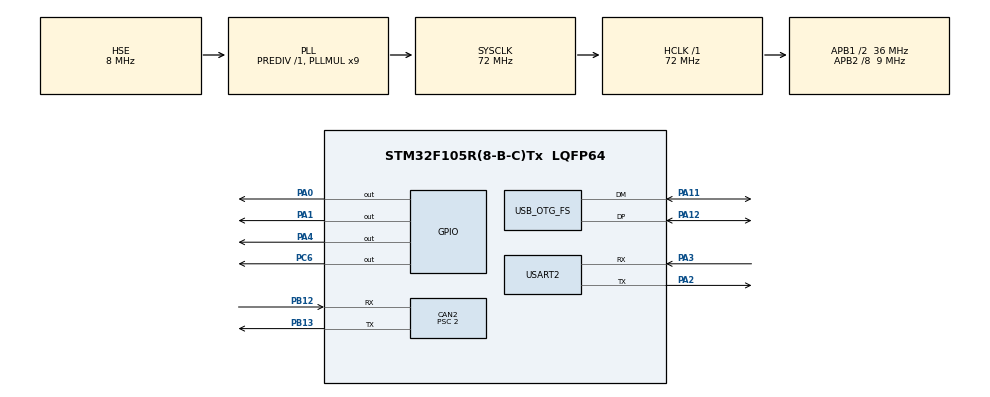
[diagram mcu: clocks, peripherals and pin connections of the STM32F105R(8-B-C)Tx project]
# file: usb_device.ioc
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CAN2.ABOM=ENABLE
CAN2.BS1=CAN_BS1_15TQ
CAN2.BS2=CAN_BS2_2TQ
CAN2.CalculateBaudRate=1000000
CAN2.CalculateTimeBit=1000
CAN2.CalculateTimeQuantum=55.55555555555556
CAN2.Prescaler=2
FREERTOS.Queues01=usb_tx_queue,8,256,1,Dynamic,NULL,NULL;rs485_tx_queue,8,256,1,Dynamic,NULL,NULL;can_tx_queue,8,256,1,Dynamic,NULL,NULL
FREERTOS.Tasks01=defaultTask,24,128,StartDefaultTask,Default,NULL,Dynamic,NULL,NULL;usb_tx_Task,8,256,StartUsbTxTask,Default,NULL,Dynamic,NULL,NULL;rs485_tx_Task,8,256,StartRs485TxTask,Default,NULL,Dynamic,NULL,NULL;can_tx_Task,8,256,StartCanTxTask,Default,NULL,Dynamic,NULL,NULL
FREERTOS.configTOTAL_HEAP_SIZE=16384
FREERTOS.configUSE_NEWLIB_REENTRANT=1
Mcu.Family=STM32F1
Mcu.Name=STM32F105R(8-B-C)Tx
Mcu.Package=LQFP64
NVIC.CAN2_RX0_IRQn=true\:5\:0\:false\:false\:true\:true\:true\:true\:true
NVIC.OTG_FS_IRQn=true\:5\:0\:false\:false\:true\:true\:false\:true\:true
NVIC.PriorityGroup=NVIC_PRIORITYGROUP_4
NVIC.TIM1_UP_IRQn=true\:15\:0\:false\:false\:true\:false\:false\:true\:true
NVIC.TimeBase=TIM1_UP_IRQn
NVIC.TimeBaseIP=TIM1
PA0-WKUP.Signal=GPIO_Output
PA1.Signal=GPIO_Output
PA11.Mode=Device_Only
PA11.Signal=USB_OTG_FS_DM
PA12.Mode=Device_Only
PA12.Signal=USB_OTG_FS_DP
PA2.Mode=Asynchronous
PA2.Signal=USART2_TX
PA3.Mode=Asynchronous
PA3.Signal=USART2_RX
PA4.Signal=GPIO_Output
PB12.Mode=CAN_Activate
PB12.Signal=CAN2_RX
PB13.Mode=CAN_Activate
PB13.Signal=CAN2_TX
PC14-OSC32_IN.Mode=LSE-External-Oscillator
PC14-OSC32_IN.Signal=RCC_OSC32_IN
PC15-OSC32_OUT.Mode=LSE-External-Oscillator
PC15-OSC32_OUT.Signal=RCC_OSC32_OUT
PC6.Signal=GPIO_Output
PD0-OSC_IN.Mode=HSE-External-Oscillator
PD0-OSC_IN.Signal=RCC_OSC_IN
PD1-OSC_OUT.Mode=HSE-External-Oscillator
PD1-OSC_OUT.Signal=RCC_OSC_OUT
ProjectManager.HeapSize=0x200
ProjectManager.StackSize=0x400
ProjectManager.TargetToolchain=STM32CubeIDE
RCC.AHBFreq_Value=72000000
RCC.APB1CLKDivider=RCC_HCLK_DIV2
RCC.APB1Freq_Value=36000000
RCC.APB1TimFreq_Value=72000000
RCC.APB2CLKDivider=RCC_HCLK_DIV8
RCC.APB2Freq_Value=9000000
RCC.APB2TimFreq_Value=18000000
RCC.HCLKFreq_Value=72000000
RCC.PLLMUL=RCC_PLL_MUL9
RCC.SYSCLKFreq_VALUE=72000000
RCC.SYSCLKSource=RCC_SYSCLKSOURCE_PLLCLK
RCC.USBFreq_Value=48000000
TIM6.Period=1999
TIM6.Prescaler=35999
USART2.VirtualMode=VM_ASYNC
USB_DEVICE.CLASS_NAME_FS=CDC
USB_DEVICE.VirtualMode=Cdc
USB_DEVICE.VirtualModeFS=Cdc_FS
USB_OTG_FS.VirtualMode=Device_Only
VP_FREERTOS_VS_CMSIS_V2.Mode=CMSIS_V2
VP_SYS_VS_ND.Mode=No_Debug
VP_SYS_VS_tim1.Mode=TIM1
VP_TIM6_VS_ClockSourceINT.Mode=Enable_Timer
VP_USB_DEVICE_VS_USB_DEVICE_CDC_FS.Mode=CDC_FS
board=custom

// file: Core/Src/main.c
/* USER CODE BEGIN Header */
/**
  ******************************************************************************
  * @file           : main.c
  * @brief          : Main program body
  ******************************************************************************
  * @attention
  *
  * Copyright (c) 2022 STMicroelectronics.
  * All rights reserved.
  *
  * This software is licensed under terms that can be found in the LICENSE file
  * in the root directory of this software component.
  * If no LICENSE file comes with this software, it is provided AS-IS.
  *
  ******************************************************************************
  */
/* USER CODE END Header */
#include "main.h"
#include "cmsis_os.h"
#include "can.h"
#include "tim.h"
#include "usart.h"
#include "usb_device.h"
#include "gpio.h"

/* USER CODE BEGIN Includes */
#include "usbd_cdc_if.h"

/* USER CODE END Includes */

void SystemClock_Config(void);
void MX_FREERTOS_Init(void);

int main(void)
{

  /* MCU Configuration--------------------------------------------------------*/

  /* Reset of all peripherals, Initializes the Flash interface and the Systick. */
  HAL_Init();

  /* Configure the system clock */
  SystemClock_Config();

  /* Initialize all configured peripherals */
  MX_GPIO_Init();
  MX_USART2_UART_Init();
  MX_CAN2_Init();
  MX_TIM6_Init();
  /* USER CODE BEGIN 2 */
  CAN_FilterTypeDef  sFilterConfig;
  sFilterConfig.FilterBank = 0;
  sFilterConfig.FilterMode = CAN_FILTERMODE_IDMASK;
  sFilterConfig.FilterScale = CAN_FILTERSCALE_32BIT;
  sFilterConfig.FilterIdHigh = 0x0000;
  sFilterConfig.FilterIdLow = 0x0000;
  sFilterConfig.FilterMaskIdHigh = 0x0000;
  sFilterConfig.FilterMaskIdLow = 0x0000;
  sFilterConfig.FilterFIFOAssignment = CAN_RX_FIFO0;
  sFilterConfig.FilterActivation = ENABLE;
  sFilterConfig.SlaveStartFilterBank = 0;
  if (HAL_CAN_ConfigFilter(&hcan2, &sFilterConfig) != HAL_OK)
  {
    /* Filter configuration Error */
    Error_Handler();
  }

  if (HAL_CAN_Start(&hcan2) != HAL_OK)
  {
    Error_Handler();
  }

  if (HAL_CAN_ActivateNotification(&hcan2, CAN_IT_RX_FIFO0_MSG_PENDING) != HAL_OK)
  {
    /* Notification Error */
    Error_Handler();
  }

  /* USER CODE END 2 */

  /* Init scheduler */
  osKernelInitialize();

  /* Call init function for freertos objects (in freertos.c) */
  MX_FREERTOS_Init();

  /* Start scheduler */
  osKernelStart();
  /* We should never get here as control is now taken by the scheduler */
  /* Infinite loop */
  while (1)
  {

  }
}

void SystemClock_Config(void)
{
  RCC_OscInitTypeDef RCC_OscInitStruct = {0};
  RCC_ClkInitTypeDef RCC_ClkInitStruct = {0};
  RCC_PeriphCLKInitTypeDef PeriphClkInit = {0};

  /** Initializes the RCC Oscillators according to the specified parameters
  * in the RCC_OscInitTypeDef structure.
  */
  RCC_OscInitStruct.OscillatorType = RCC_OSCILLATORTYPE_HSE;
  RCC_OscInitStruct.HSEState = RCC_HSE_ON;
  RCC_OscInitStruct.HSEPredivValue = RCC_HSE_PREDIV_DIV1;
  RCC_OscInitStruct.HSIState = RCC_HSI_ON;
  RCC_OscInitStruct.Prediv1Source = RCC_PREDIV1_SOURCE_HSE;
  RCC_OscInitStruct.PLL.PLLState = RCC_PLL_ON;
  RCC_OscInitStruct.PLL.PLLSource = RCC_PLLSOURCE_HSE;
  RCC_OscInitStruct.PLL.PLLMUL = RCC_PLL_MUL9;
  RCC_OscInitStruct.PLL2.PLL2State = RCC_PLL_NONE;
  if (HAL_RCC_OscConfig(&RCC_OscInitStruct) != HAL_OK)
  {
    Error_Handler();
  }

  /** Initializes the CPU, AHB and APB buses clocks
  */
  RCC_ClkInitStruct.ClockType = RCC_CLOCKTYPE_HCLK|RCC_CLOCKTYPE_SYSCLK
                              |RCC_CLOCKTYPE_PCLK1|RCC_CLOCKTYPE_PCLK2;
  RCC_ClkInitStruct.SYSCLKSource = RCC_SYSCLKSOURCE_PLLCLK;
  RCC_ClkInitStruct.AHBCLKDivider = RCC_SYSCLK_DIV1;
  RCC_ClkInitStruct.APB1CLKDivider = RCC_HCLK_DIV2;
  RCC_ClkInitStruct.APB2CLKDivider = RCC_HCLK_DIV8;

  if (HAL_RCC_ClockConfig(&RCC_ClkInitStruct, FLASH_LATENCY_2) != HAL_OK)
  {
    Error_Handler();
  }
  PeriphClkInit.PeriphClockSelection = RCC_PERIPHCLK_USB;
  PeriphClkInit.UsbClockSelection = RCC_USBCLKSOURCE_PLL_DIV3;
  if (HAL_RCCEx_PeriphCLKConfig(&PeriphClkInit) != HAL_OK)
  {
    Error_Handler();
  }

  /** Configure the Systick interrupt time
  */
  __HAL_RCC_PLLI2S_ENABLE();
}

void HAL_TIM_PeriodElapsedCallback(TIM_HandleTypeDef *htim)
{
  if (htim->Instance == TIM1) {
    HAL_IncTick();
  }
}

void Error_Handler(void)
{
  __disable_irq();
  while (1)
  {
  }
}

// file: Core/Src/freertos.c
/* USER CODE BEGIN Header */
/**
  ******************************************************************************
  * File Name          : freertos.c
  * Description        : Code for freertos applications
  ******************************************************************************
  * @attention
  *
  * Copyright (c) 2022 STMicroelectronics.
  * All rights reserved.
  *
  * This software is licensed under terms that can be found in the LICENSE file
  * in the root directory of this software component.
  * If no LICENSE file comes with this software, it is provided AS-IS.
  *
  ******************************************************************************
  */
/* USER CODE END Header */

#include "FreeRTOS.h"
#include "task.h"
#include "main.h"
#include "cmsis_os.h"

/* USER CODE BEGIN Includes */
#include "usbd_cdc_if.h"
#include "rs485_driver.h"
#include "can_driver.h"
#include "board.h"

/* USER CODE END Includes */

/* USER CODE BEGIN Variables */
converter_mode mode;

/* USER CODE END Variables */
/* Definitions for defaultTask */
osThreadId_t defaultTaskHandle;
const osThreadAttr_t defaultTask_attributes = {
  .name = "defaultTask",
  .stack_size = 128 * 4,
  .priority = (osPriority_t) osPriorityNormal,
};
/* Definitions for usb_tx_Task */
osThreadId_t usb_tx_TaskHandle;
const osThreadAttr_t usb_tx_Task_attributes = {
  .name = "usb_tx_Task",
  .stack_size = 256 * 4,
  .priority = (osPriority_t) osPriorityLow,
};
/* Definitions for rs485_tx_Task */
osThreadId_t rs485_tx_TaskHandle;
const osThreadAttr_t rs485_tx_Task_attributes = {
  .name = "rs485_tx_Task",
  .stack_size = 256 * 4,
  .priority = (osPriority_t) osPriorityLow,
};
/* Definitions for can_tx_Task */
osThreadId_t can_tx_TaskHandle;
const osThreadAttr_t can_tx_Task_attributes = {
  .name = "can_tx_Task",
  .stack_size = 256 * 8,
  .priority = (osPriority_t) osPriorityLow,
};
/* Definitions for usb_tx_queue */
osMessageQueueId_t usb_tx_queueHandle;
const osMessageQueueAttr_t usb_tx_queue_attributes = {
  .name = "usb_tx_queue"
};
/* Definitions for rs485_tx_queue */
osMessageQueueId_t rs485_tx_queueHandle;
const osMessageQueueAttr_t rs485_tx_queue_attributes = {
  .name = "rs485_tx_queue"
};
/* Definitions for can_tx_queue */
osMessageQueueId_t can_tx_queueHandle;
const osMessageQueueAttr_t can_tx_queue_attributes = {
  .name = "can_tx_queue"
};

/* USER CODE BEGIN FunctionPrototypes */
static void usb_transmit();

/* USER CODE END FunctionPrototypes */

void StartDefaultTask(void *argument);
void StartUsbTxTask(void *argument);
void StartRs485TxTask(void *argument);
void StartCanTxTask(void *argument);

extern void MX_USB_DEVICE_Init(void);
void MX_FREERTOS_Init(void); /* (MISRA C 2004 rule 8.1) */

void MX_FREERTOS_Init(void) {

  /* Create the queue(s) */
  /* creation of usb_tx_queue */
  usb_tx_queueHandle = osMessageQueueNew (8, 256, &usb_tx_queue_attributes);

  /* creation of rs485_tx_queue */
  rs485_tx_queueHandle = osMessageQueueNew (8, 256, &rs485_tx_queue_attributes);

  /* creation of can_tx_queue */
  can_tx_queueHandle = osMessageQueueNew (8, 256, &can_tx_queue_attributes);

  /* Create the thread(s) */
  /* creation of defaultTask */
  defaultTaskHandle = osThreadNew(StartDefaultTask, NULL, &defaultTask_attributes);

  /* creation of usb_tx_Task */
  usb_tx_TaskHandle = osThreadNew(StartUsbTxTask, NULL, &usb_tx_Task_attributes);

  /* creation of rs485_tx_Task */
  rs485_tx_TaskHandle = osThreadNew(StartRs485TxTask, NULL, &rs485_tx_Task_attributes);

  /* creation of can_tx_Task */
  can_tx_TaskHandle = osThreadNew(StartCanTxTask, NULL, &can_tx_Task_attributes);

}

void StartDefaultTask(void *argument)
{
  /* init code for USB_DEVICE */
  MX_USB_DEVICE_Init();
  /* USER CODE BEGIN StartDefaultTask */
  /* Infinite loop */
  for(;;)
  {
    if (mode == USB2CAN) {
      LED_RUN_On();
    }else{
      LED_RUN_Off();
    }
    osDelay(500);
  }
  /* USER CODE END StartDefaultTask */
}

void StartUsbTxTask(void *argument)
{
  /* USER CODE BEGIN StartUsbTxTask */
  osStatus_t status;
  dataPacket modbus_packet;
  /* Infinite loop */
  for(;;)
  {
    status = osMessageQueueGet(usb_tx_queueHandle, &modbus_packet, NULL, osWaitForever);
    if ((status == osOK) && (modbus_packet.data_len > 0)){
      usb_transmit(&modbus_packet);
    }
  }
  /* USER CODE END StartUsbTxTask */
}

void StartRs485TxTask(void *argument)
{
  /* USER CODE BEGIN StartRs485TxTask */
  dataPacket transmit_modbus_packet;
  dataPacket receive_modbus_packet;
  osStatus_t status;
  uint8_t res;
  /* Infinite loop */
  for(;;)
  {
    status = osMessageQueueGet(rs485_tx_queueHandle, &transmit_modbus_packet, NULL, 50);
    if (mode == USB2RS485 && status == osOK){
      res = rs485_transmit(&transmit_modbus_packet);
      if (res > 0){
        continue;
      }
      res = rs485_receive(&receive_modbus_packet);
      if (res > 0){
        continue;
      }
      osMessageQueuePut(usb_tx_queueHandle, &receive_modbus_packet, 0U, 0U);
    }
  }
  /* USER CODE END StartRs485TxTask */
}

void StartCanTxTask(void *argument)
{
  /* USER CODE BEGIN StartCanTxTask */
  dataPacket transmit_cmd;
  osStatus_t status;
  uint8_t res;
  /* Infinite loop */
  for(;;)
  {
    status = osMessageQueueGet(can_tx_queueHandle, &transmit_cmd, NULL, 50);
    if (mode == USB2CAN && status == osOK){
      res = can_transmit(&transmit_cmd);
      if (res > 0){
        continue;
      }
      // res = can_receive(&receive_modbus_packet);
      // if (res > 0){
      //   continue;
      // }
      // osMessageQueuePut(usb_tx_queueHandle, &receive_modbus_packet, 0U, 0U);
    }
  }
  /* USER CODE END StartCanTxTask */
}

/* USER CODE BEGIN Application */
static void usb_transmit(dataPacket * packet){
  while(CDC_Transmit_FS(&packet->data[0], packet->data_len) != USBD_OK){
    ;
  }
}
/* USER CODE END Application */
